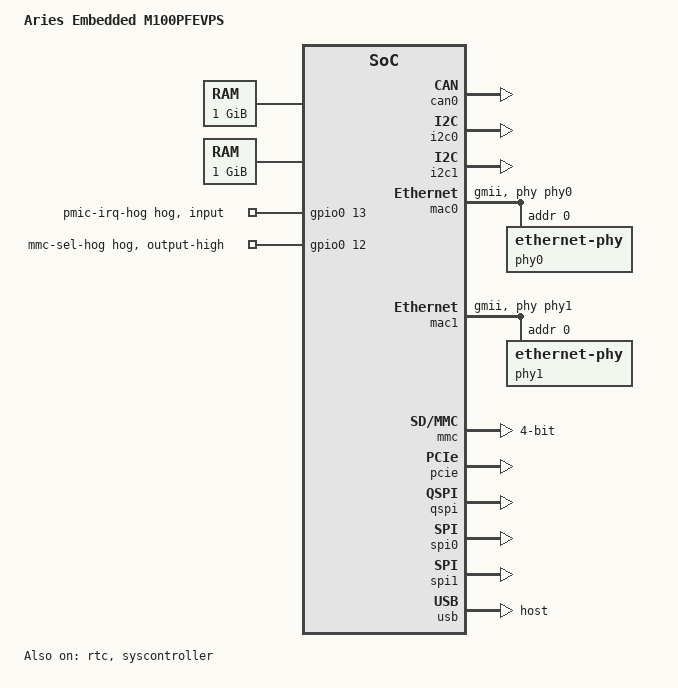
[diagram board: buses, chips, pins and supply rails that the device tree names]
// SPDX-License-Identifier: GPL-2.0
/*
 * Original all-in-one devicetree:
 * Copyright (C) 2021-2022 - Wolfgang Grandegger <wg@aries-embedded.de>
 * Rewritten to use includes:
 * Copyright (C) 2022 - Conor Dooley <conor.dooley@microchip.com>
 */
/dts-v1/;

#include "mpfs.dtsi"
#include "mpfs-m100pfs-fabric.dtsi"

/ {
	model = "Aries Embedded M100PFEVPS";
	compatible = "aries,m100pfsevp", "microchip,mpfs";

	aliases {
		ethernet0 = &mac0;
		ethernet1 = &mac1;
		serial0 = &mmuart0;
		serial1 = &mmuart1;
		serial2 = &mmuart2;
		serial3 = &mmuart3;
		serial4 = &mmuart4;
		gpio0 = &gpio0;
		gpio1 = &gpio2;
	};

	chosen {
		stdout-path = "serial1:115200n8";
	};

	ddrc_cache_lo: memory@80000000 {
		device_type = "memory";
		reg = <0x0 0x80000000 0x0 0x40000000>;
	};
	ddrc_cache_hi: memory@1040000000 {
		device_type = "memory";
		reg = <0x10 0x40000000 0x0 0x40000000>;
	};
};

&can0 {
	status = "okay";
};

&i2c0 {
	status = "okay";
};

&i2c1 {
	status = "okay";
};

&irqmux {
	interrupt-map = <0 &plic 13>, <1 &plic 14>, <2 &plic 15>,
			<3 &plic 16>, <4 &plic 17>, <5 &plic 18>,
			<6 &plic 19>, <7 &plic 20>, <8 &plic 21>,
			<9 &plic 22>, <10 &plic 23>, <11 &plic 24>,
			<12 &plic 25>, <13 &plic 26>,

			<32 &plic 27>, <33 &plic 28>, <34 &plic 29>,
			<35 &plic 30>, <36 &plic 31>, <37 &plic 32>,
			<38 &plic 33>, <39 &plic 34>, <40 &plic 35>,
			<41 &plic 36>, <42 &plic 37>, <43 &plic 38>,
			<44 &plic 39>, <45 &plic 40>, <46 &plic 41>,
			<47 &plic 42>, <48 &plic 43>, <49 &plic 44>,
			<50 &plic 45>, <51 &plic 46>, <52 &plic 47>,
			<53 &plic 48>, <54 &plic 49>, <55 &plic 50>,

			<64 &plic 53>, <65 &plic 53>, <66 &plic 53>,
			<67 &plic 53>, <68 &plic 53>, <69 &plic 53>,
			<70 &plic 53>, <71 &plic 53>, <72 &plic 53>,
			<73 &plic 53>, <74 &plic 53>, <75 &plic 53>,
			<76 &plic 53>, <77 &plic 53>, <78 &plic 53>,
			<79 &plic 53>, <80 &plic 53>, <81 &plic 53>,
			<82 &plic 53>, <83 &plic 53>, <84 &plic 53>,
			<85 &plic 53>, <86 &plic 53>, <87 &plic 53>,
			<88 &plic 53>, <89 &plic 53>, <90 &plic 53>,
			<91 &plic 53>, <92 &plic 53>, <93 &plic 53>,
			<94 &plic 53>, <95 &plic 53>;
};

&gpio0 {
	ngpios = <14>;
	status = "okay";

	pmic-irq-hog {
		gpio-hog;
		gpios = <13 0>;
		input;
	};

	/* Set to low for eMMC, high for SD-card */
	mmc-sel-hog {
		gpio-hog;
		gpios = <12 0>;
		output-high;
	};
};

&gpio2 {
	status = "okay";
};

&mac0 {
	status = "okay";
	phy-mode = "gmii";
	phy-handle = <&phy0>;
	phy0: ethernet-phy@0 {
		reg = <0>;
	};
};

&mac1 {
	status = "okay";
	phy-mode = "gmii";
	phy-handle = <&phy1>;
	phy1: ethernet-phy@0 {
		reg = <0>;
	};
};

&mbox {
	status = "okay";
};

&mmc {
	max-frequency = <50000000>;
	bus-width = <4>;
	cap-mmc-highspeed;
	cap-sd-highspeed;
	no-1-8-v;
	sd-uhs-sdr12;
	sd-uhs-sdr25;
	sd-uhs-sdr50;
	sd-uhs-sdr104;
	disable-wp;
	status = "okay";
};

&mmuart1 {
	status = "okay";
};

&mmuart2 {
	status = "okay";
};

&mmuart3 {
	status = "okay";
};

&mmuart4 {
	status = "okay";
};

&pcie {
	status = "okay";
};

&qspi {
	status = "okay";
};

&refclk {
	clock-frequency = <125000000>;
};

&rtc {
	status = "okay";
};

&spi0 {
	status = "okay";
};

&spi1 {
	status = "okay";
};

&syscontroller {
	status = "okay";
};

&usb {
	status = "okay";
	dr_mode = "host";
};
